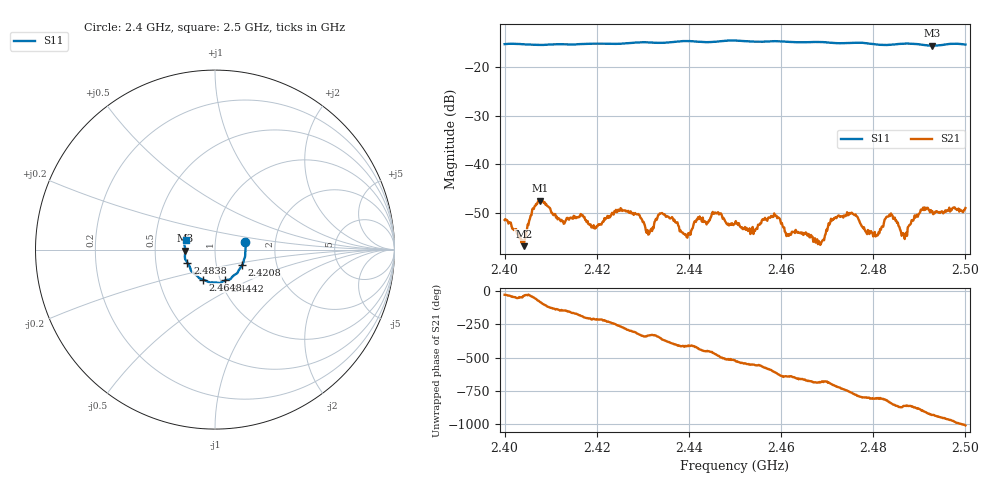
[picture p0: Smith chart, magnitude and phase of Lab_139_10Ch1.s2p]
# Hz S RI R 50
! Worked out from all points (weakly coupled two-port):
!   601 points, 2.4 GHz to 2.5 GHz, reference 50 ohm
!   highest |S21| = -47.52 dB at 2.4077 GHz (marker M1); lowest = -56.9 dB at 2.4042 GHz (marker M2)
!   lowest |S11| = -15.6 dB at 2.4928 GHz (marker M3), VSWR 1.40, Z = 35.8 - j0.371 ohm
!   |S11| at or under -10 dB: start of sweep to end of sweep
!   S12 and S22 are empty: the file has one direction only
!   S11 on the Smith chart (normalised r, x): 2.4 GHz: 1.40, +0.12; 2.4208 GHz: 1.33, -0.24; 2.4442 GHz: 1.05, -0.37; 2.4648 GHz: 0.83, -0.29; 2.4838 GHz: 0.73, -0.11; 2.5 GHz: 0.72, +0.08
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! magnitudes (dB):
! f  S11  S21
! 2.4 GHz  -15.3  -51.5
! 2.4042 GHz  -15.3  -56.9
! 2.4077 GHz  -15.4  -47.5
! 2.4125 GHz  -15.3  -51.8
! 2.4167 GHz  -15.2  -50.4
! 2.4208 GHz  -15.2  -52.5
! 2.4257 GHz  -15.2  -49.5
! 2.4312 GHz  -14.9  -54.5
! 2.4333 GHz  -15.0  -50.5
! 2.4395 GHz  -14.6  -55.0
! 2.4442 GHz  -14.9  -52.0
! 2.45 GHz  -14.5  -52.3
! 2.4585 GHz  -14.7  -50.2
! 2.4648 GHz  -14.9  -54.6
! 2.4667 GHz  -14.8  -55.0
! 2.4748 GHz  -15.0  -50.1
! 2.4805 GHz  -15.3  -54.9
! 2.4833 GHz  -15.4  -50.8
! 2.4838 GHz  -15.4  -50.2
! 2.4868 GHz  -15.2  -55.4
! 2.4928 GHz  -15.6  -49.7
! 2.5 GHz  -15.4  -49.1
